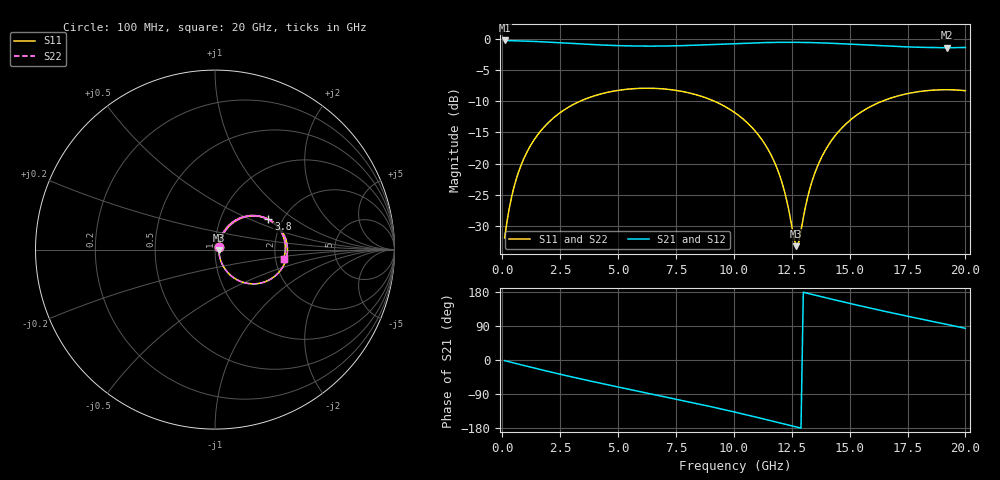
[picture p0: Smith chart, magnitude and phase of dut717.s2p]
! Touchstone file exported from HFSS 2026.1.0
!  File:  C:/ffzhzh/LocalFiles/Ansys_Project_Files/temp_train_TSV_RDL_717_1783201163_22436.aedt
!  Generated:  05:50:41 AM Jul  5, 2026
!  Design:  TSV_RDL
!  Project:  temp_train_TSV_RDL_717_1783201163_22436
! Variables:
!  h_bsmrdl = 3.06um
!  h_ox = 20um
!  h_rdl = 5um
!  h_sub = 71.72um
!  h_tmrdl = 4.76um
!  h_tsv = 71.72um
!  h_via = 3um
!  l_bsmrdl = 254.57um
!  l_sub = 4634.93um
!  l_tmrdl = 844.06um
!  m_sub = 200um
!  pitch = 38.02um
!  r_tsv = 11.48um
!  s_tmrdl = 10um
!  w_bsmrdl = 10.27um
!  w_sub = 500um
!  w_tmrdl = 21.39um
!  x_tsv_center1 = 854.755um
!  x_tsv_center2 = 1119.595um
!  x_tsv_center3 = 1985.045um
!  x_tsv_center4 = 2249.885um
!  x_tsv_center5 = 3115.335um
!  x_tsv_center6 = 3380.175um
# GHz S MA R 50.000000
! Terminal data exported
! Port[1] = TM_RDL1_1_T1
! Port[2] = TM_RDL5_1_T1
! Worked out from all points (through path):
!   200 points, 100 MHz to 20 GHz, reference 50 ohm
!   highest |S21| = -0.19 dB at 100 MHz (marker M1); lowest = -1.3 dB at 19.2 GHz (marker M2)
!   group delay of S21, straight-line fit = 38.4 ps
!   lowest |S11| = -33.3 dB at 12.7 GHz (marker M3), VSWR 1.04, Z = 52.2 - j0.18 ohm
!   |S11| at or under -10 dB: start of sweep to 3.343 GHz; 9.176 GHz to 16.38 GHz (7.208 GHz wide, 56.4 % of centre)
!   |S22| runs from -33.4 to -7.9 dB; largest |S21 - S12| = 1.9e-14
!   S11 on the Smith chart (normalised r, x): 100 MHz: 1.04, +0.03; 3.8 GHz: 1.69, +0.65; 20 GHz: 2.22, -0.26
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0.1  0.02514 29.4  0.9784 -1.6  0.9784 -1.6  0.02514 29.4
! Gamma 0 0 0 0
! Port Impedance 50 0 50 0
0.5  0.06406 59.6  0.9737 -7.9  0.9737 -7.9  0.06406 59.6
1.2  0.1374 60.3  0.964 -18.5  0.964 -18.5  0.1374 60.3
2.2  0.232 49.7  0.9439 -33.3  0.9439 -33.3  0.2321 49.7
3.5  0.3256 33.4  0.9144 -51.4  0.9144 -51.4  0.3256 33.4
3.8  0.342 29.6  0.9082 -55.5  0.9082 -55.5  0.342 29.6
5.3  0.3946 11.2  0.886 -75.0  0.886 -75.0  0.3946 11.2
6.8  0.4006 -6.9  0.8819 -94.1  0.8819 -94.1  0.4007 -6.9
8.5  0.3521 -27.6  0.8982 -116.3  0.8982 -116.3  0.3522 -27.7
10.1  0.2523 -47.5  0.9243 -138.3  0.9243 -138.3  0.2524 -47.6
11  0.1753 -57.9  0.9372 -151.3  0.9372 -151.3  0.1754 -58.0
11.7  0.1079 -63.5  0.9437 -161.7  0.9437 -161.7  0.108 -63.7
12.2  0.05845 -60.7  0.9456 -169.2  0.9456 -169.2  0.05845 -61.0
12.7  0.02162 -4.6  0.945 -176.8  0.945 -176.8  0.02137 -4.9
12.8  0.0232 20.8  0.9446 -178.3  0.9446 -178.3  0.02292 20.8
13.1  0.04544 56.3  0.9427 177.2  0.9427 177.2  0.04524 56.5
13.4  0.07419 63.4  0.94 172.7  0.94 172.7  0.07403 63.5
13.9  0.123 63.0  0.9336 165.3  0.9336 165.3  0.1229 63.1
14.6  0.1876 56.7  0.9218 155.1  0.9218 155.1  0.1875 56.7
16.7  0.3327 31.7  0.8804 126.0  0.8804 126.0  0.3327 31.7
19.2  0.3926 1.9  0.8564 93.8  0.8564 93.8  0.3925 1.9
20  0.3856 -7.5  0.8586 83.7  0.8586 83.7  0.3856 -7.5
